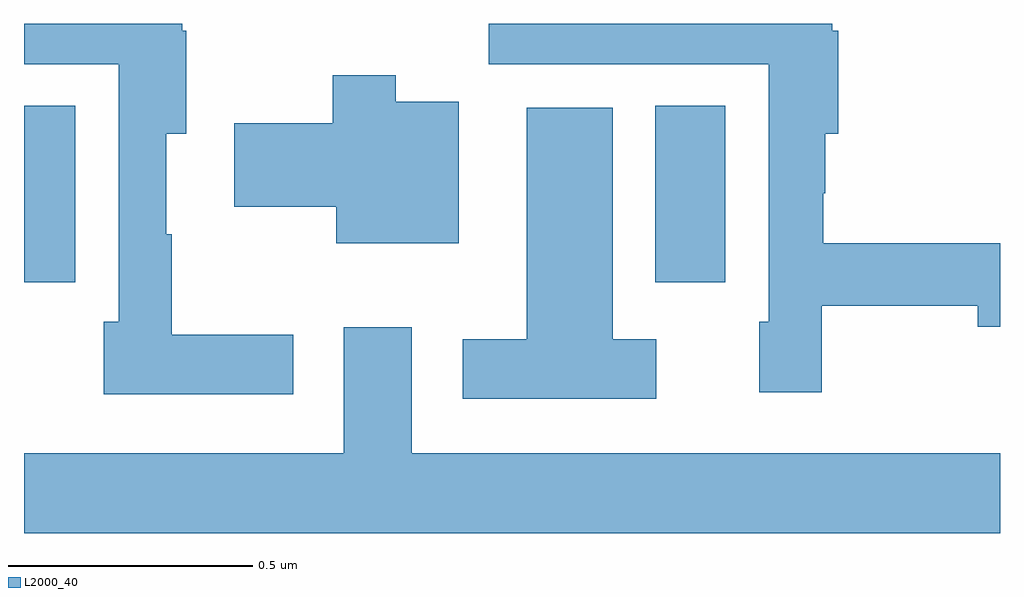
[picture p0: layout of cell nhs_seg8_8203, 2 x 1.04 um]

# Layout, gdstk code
import gdstk
lib = gdstk.Library(unit=1e-6, precision=1e-09)
def R(c, l, rs):  # rectangles x0, y0, x1, y1
    for r in rs: c.add(gdstk.rectangle(r[:2], r[2:], *l))
def P(c, l, *ps):  # polygons
    for p in ps: c.add(gdstk.Polygon(p, *l))
L2000_40 = (2000, 40)

nhs_seg8_8203 = lib.new_cell('nhs_seg8_8203')
R(nhs_seg8_8203, L2000_40, [(220,1094.37,220.105,1094.732), (221.294,1094.37,221.437,1094.732)])
P(nhs_seg8_8203, L2000_40, [(220.552,1094.263),(220.303,1094.263),(220.303,1094.469),(220.291,1094.469),(220.291,1094.675),(220.332,1094.675),(220.332,1094.886),(220.324,1094.886),(220.324,1094.9),(220,1094.9),(220,1094.817),(220.194,1094.817),(220.194,1094.289),(220.163,1094.289),(220.163,1094.141),(220.552,1094.141)],
  [(221.635,1094.322),(221.954,1094.322),(221.954,1094.279),(222,1094.279),(222,1094.45),(221.638,1094.45),(221.638,1094.553),(221.642,1094.553),(221.642,1094.675),(221.669,1094.675),(221.669,1094.886),(221.656,1094.886),(221.656,1094.9),(220.952,1094.9),(220.952,1094.817),(221.526,1094.817),(221.526,1094.289),(221.507,1094.289),(221.507,1094.145),(221.635,1094.145)],
  [(220.891,1094.74),(220.762,1094.74),(220.762,1094.794),(220.633,1094.794),(220.633,1094.696),(220.431,1094.696),(220.431,1094.525),(220.64,1094.525),(220.64,1094.45),(220.891,1094.45)],
  [(221.296,1094.254),(221.206,1094.254),(221.206,1094.728),(221.03,1094.728),(221.03,1094.254),(220.899,1094.254),(220.899,1094.132),(221.296,1094.132)],
  [(222,1094.02),(220.795,1094.02),(220.795,1094.278),(220.655,1094.278),(220.655,1094.02),(220,1094.02),(220,1093.856),(222,1093.856)])

lib.write_gds('nhs_seg8_8203.gds')
